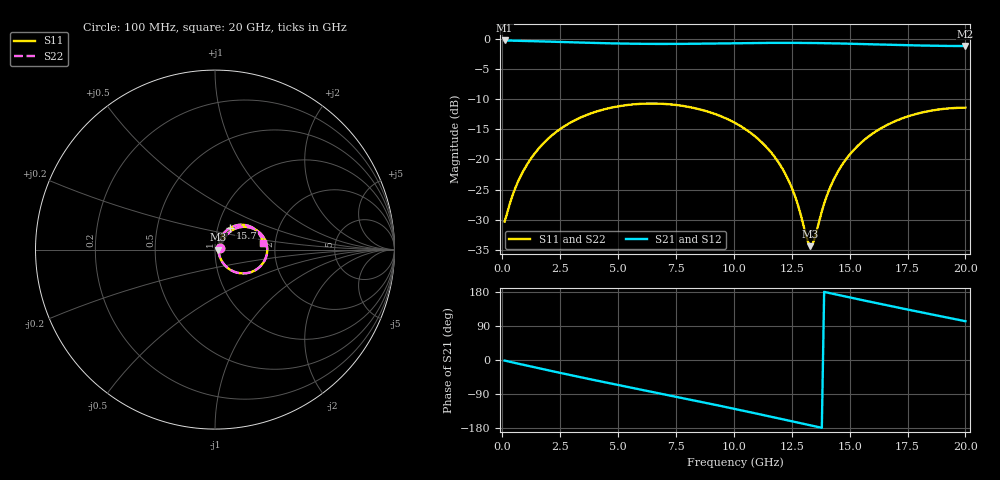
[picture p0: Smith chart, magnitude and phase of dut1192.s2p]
! Touchstone file exported from HFSS 2026.1.0
!  File:  C:/ffzhzh/LocalFiles/Ansys_Project_Files/temp_train_TSV_RDL_1192_1783317330_39728.aedt
!  Generated:  02:04:33 PM Jul  6, 2026
!  Design:  TSV_RDL
!  Project:  temp_train_TSV_RDL_1192_1783317330_39728
! Variables:
!  h_bsmrdl = 4.51um
!  h_ox = 20um
!  h_rdl = 5um
!  h_sub = 69.79um
!  h_tmrdl = 2.51um
!  h_tsv = 69.79um
!  h_via = 3um
!  l_bsmrdl = 853.2um
!  l_sub = 4458.86um
!  l_tmrdl = 352.21um
!  m_sub = 200um
!  pitch = 23.83um
!  r_tsv = 5.06um
!  s_tmrdl = 10um
!  w_bsmrdl = 15.58um
!  w_sub = 500um
!  w_tmrdl = 14.56um
!  x_tsv_center1 = 359.49um
!  x_tsv_center2 = 1228.27um
!  x_tsv_center3 = 1595.04um
!  x_tsv_center4 = 2463.82um
!  x_tsv_center5 = 2830.59um
!  x_tsv_center6 = 3699.37um
# GHz S MA R 50.000000
! Terminal data exported
! Port[1] = TM_RDL1_1_T1
! Port[2] = TM_RDL5_1_T1
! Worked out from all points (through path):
!   200 points, 100 MHz to 20 GHz, reference 50 ohm
!   highest |S21| = -0.26 dB at 100 MHz (marker M1); lowest = -1.2 dB at 20 GHz (marker M2)
!   group delay of S21, straight-line fit = 35.7 ps
!   lowest |S11| = -34.4 dB at 13.3 GHz (marker M3), VSWR 1.04, Z = 51.9 - j0.075 ohm
!   |S11| at or under -10 dB: start of sweep to end of sweep
!   |S22| runs from -34.4 to -10.7 dB; largest |S21 - S12| = 1.8e-14
!   S11 on the Smith chart (normalised r, x): 100 MHz: 1.06, +0.02; 15.7 GHz: 1.15, +0.29; 20 GHz: 1.72, +0.14
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0.1  0.03046 16.9  0.971 -1.5  0.971 -1.5  0.03046 16.9
! Gamma 0 0 0 0
! Port Impedance 50 0 50 0
0.7  0.06665 48.6  0.9635 -9.9  0.9635 -9.9  0.06665 48.6
1.4  0.1121 51.2  0.9568 -19.3  0.9568 -19.3  0.1121 51.2
2.3  0.1675 45.2  0.9465 -31.4  0.9465 -31.4  0.1675 45.2
3.5  0.2278 33.0  0.9315 -47.0  0.9315 -47.0  0.2278 33.0
5.1  0.2777 15.1  0.9155 -67.2  0.9155 -67.2  0.2777 15.1
6.8  0.2901 -4.3  0.9086 -88.2  0.9086 -88.2  0.2901 -4.3
8.5  0.2611 -23.7  0.9124 -109.4  0.9124 -109.4  0.2611 -23.7
10.1  0.1985 -41.8  0.921 -129.9  0.921 -129.9  0.1986 -41.8
11.2  0.139 -53.1  0.926 -144.3  0.926 -144.3  0.1391 -53.2
12.1  0.08363 -59.3  0.9278 -156.3  0.9278 -156.3  0.08367 -59.3
12.6  0.05205 -57.4  0.9274 -162.9  0.9274 -162.9  0.05209 -57.4
13.2  0.0207 -19.8  0.9257 -171.0  0.9257 -171.0  0.02072 -19.9
13.3  0.01906 -2.2  0.9253 -172.3  0.9253 -172.3  0.01907 -2.3
13.4  0.0197 16.4  0.9248 -173.6  0.9248 -173.6  0.01971 16.3
13.9  0.04291 58.4  0.9219 179.7  0.9219 179.7  0.04289 58.4
14.3  0.06721 63.2  0.9189 174.4  0.9189 174.4  0.06719 63.2
14.9  0.1036 61.6  0.9136 166.5  0.9136 166.5  0.1036 61.5
15.7  0.1487 54.9  0.9053 156.1  0.9053 156.1  0.1487 54.9
16.7  0.1967 44.6  0.8945 143.3  0.8945 143.3  0.1967 44.6
18.4  0.2515 26.0  0.8791 122.0  0.8791 122.0  0.2515 25.9
20  0.2686 8.3  0.8725 102.3  0.8725 102.3  0.2686 8.2
